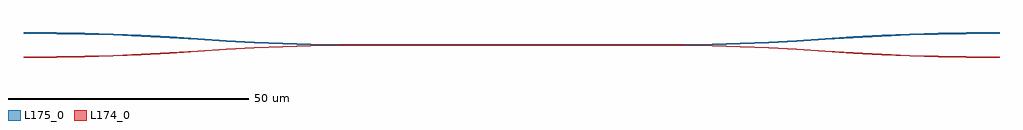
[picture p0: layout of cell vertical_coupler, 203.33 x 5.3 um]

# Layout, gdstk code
import gdstk
lib = gdstk.Library(unit=1e-6, precision=1e-09)
def R(c, l, rs):  # rectangles x0, y0, x1, y1
    for r in rs: c.add(gdstk.rectangle(r[:2], r[2:], *l))
def P(c, l, *ps):  # polygons
    for p in ps: c.add(gdstk.Polygon(p, *l))
L174_0 = (174, 0)
L175_0 = (175, 0)

vertical_coupler = lib.new_cell('vertical_coupler')
R(vertical_coupler, L174_0, [(0,-0.125,1,0.125), (202.333,-0.125,203.333,0.125), (71.666,2.375,131.666,2.625)])
P(vertical_coupler, L174_0, [(1,-0.125),(6.895,-0.09),(12.789,0.014),(18.682,0.188),(24.572,0.431),(30.459,0.743),(36.342,1.125),(36.324,1.375),(30.445,0.993),(24.561,0.681),(18.673,0.438),(12.784,0.264),(6.892,0.16),(1,0.125)],
  [(36.324,1.375),(42.207,1.757),(48.094,2.069),(53.984,2.312),(59.877,2.486),(65.771,2.59),(71.666,2.625),(71.666,2.375),(65.774,2.34),(59.883,2.236),(53.993,2.062),(48.106,1.819),(42.222,1.507),(36.342,1.125)],
  [(131.666,2.625),(137.562,2.59),(143.456,2.486),(149.349,2.312),(155.239,2.069),(161.126,1.757),(167.009,1.375),(166.991,1.125),(161.111,1.507),(155.227,1.819),(149.34,2.062),(143.45,2.236),(137.559,2.34),(131.666,2.375)],
  [(166.991,1.125),(172.874,0.743),(178.761,0.431),(184.651,0.188),(190.544,0.014),(196.438,-0.09),(202.333,-0.125),(202.333,0.125),(196.441,0.16),(190.549,0.264),(184.66,0.438),(178.772,0.681),(172.888,0.993),(167.009,1.375)])
R(vertical_coupler, L175_0, [(71.666,2.326,131.666,2.673), (0,4.826,1,5.173), (202.333,4.826,203.333,5.173)])
P(vertical_coupler, L175_0, [(1,5.173),(6.896,5.139),(12.791,5.035),(18.684,4.861),(24.575,4.618),(30.462,4.305),(36.345,3.923),(36.321,3.577),(30.442,3.959),(24.558,4.271),(18.672,4.514),(12.782,4.688),(6.892,4.792),(1,4.827)],
  [(36.321,3.577),(42.204,3.195),(48.092,2.882),(53.983,2.639),(59.876,2.465),(65.771,2.361),(71.666,2.327),(71.666,2.673),(65.775,2.708),(59.884,2.812),(53.995,2.986),(48.108,3.229),(42.225,3.541),(36.345,3.923)],
  [(131.666,2.327),(137.562,2.361),(143.457,2.465),(149.35,2.639),(155.241,2.882),(161.129,3.195),(167.012,3.577),(166.987,3.923),(161.108,3.541),(155.225,3.229),(149.338,2.986),(143.449,2.812),(137.558,2.708),(131.666,2.673)],
  [(166.987,3.923),(172.871,4.305),(178.758,4.618),(184.649,4.861),(190.542,5.035),(196.437,5.139),(202.333,5.173),(202.333,4.827),(196.441,4.792),(190.551,4.688),(184.661,4.514),(178.775,4.271),(172.891,3.959),(167.012,3.577)])

lib.write_gds('vertical_coupler.gds')
